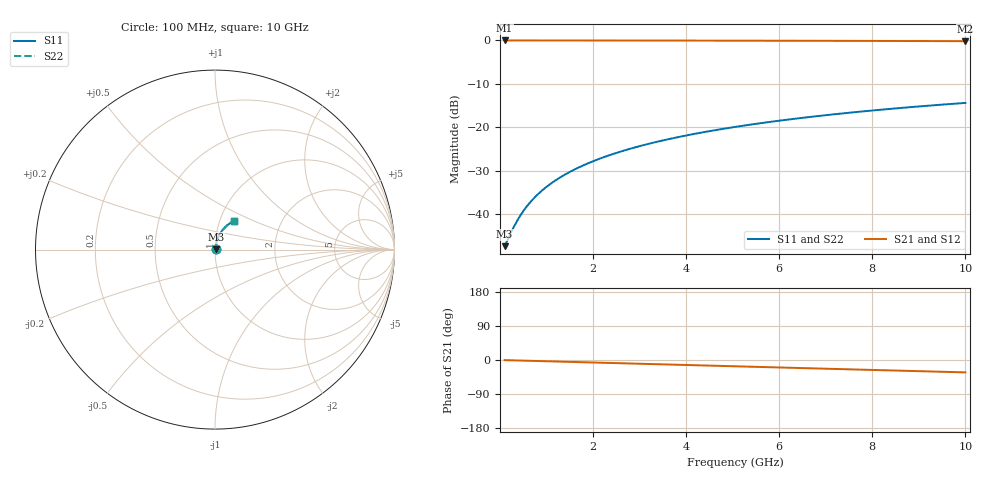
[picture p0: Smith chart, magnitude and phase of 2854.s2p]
# Hz S RI R 50.00
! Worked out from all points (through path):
!   100 points, 100 MHz to 10 GHz, reference 50 ohm
!   highest |S21| = -0.03 dB at 100 MHz (marker M1); lowest = -0.2 dB at 10 GHz (marker M2)
!   group delay of S21, straight-line fit = 9.09 ps
!   lowest |S11| = -47.3 dB at 100 MHz (marker M3), VSWR 1.01, Z = 50.4 + j0.202 ohm
!   |S11| at or under -10 dB: start of sweep to end of sweep
!   |S22| runs from -47.3 to -14.4 dB; largest |S21 - S12| = 0
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1e8  0.00379 0.00201  0.9962 -0.00572  0.9962 -0.00572  0.00379 0.00201
3e8  0.00393 0.00602  0.996 -0.0172  0.996 -0.0172  0.00393 0.00602
4e8  0.00402 0.00803  0.9959 -0.0229  0.9959 -0.0229  0.00402 0.00803
5e8  0.00414 0.01  0.9957 -0.0286  0.9957 -0.0286  0.00414 0.01
6e8  0.00427 0.012  0.9955 -0.0343  0.9955 -0.0343  0.00427 0.012
7e8  0.00443 0.014  0.9952 -0.04  0.9952 -0.04  0.00443 0.014
9e8  0.00482 0.018  0.9946 -0.0515  0.9946 -0.0515  0.00482 0.018
1e9  0.00504 0.02  0.9942 -0.0572  0.9942 -0.0572  0.00504 0.02
1.2e9  0.00556 0.024  0.9934 -0.0686  0.9934 -0.0686  0.00556 0.024
1.5e9  0.00651 0.0299  0.9919 -0.0857  0.9919 -0.0857  0.00651 0.0299
1.8e9  0.00766 0.0359  0.99 -0.1027  0.99 -0.1027  0.00766 0.0359
2.1e9  0.00901 0.0417  0.9879 -0.1197  0.9879 -0.1197  0.00901 0.0417
2.5e9  0.0111 0.0494  0.9845 -0.1423  0.9845 -0.1423  0.0111 0.0494
2.9e9  0.0136 0.0571  0.9805 -0.1648  0.9805 -0.1648  0.0136 0.0571
3.4e9  0.0171 0.0664  0.9747 -0.1927  0.9747 -0.1927  0.0171 0.0664
4.2e9  0.0239 0.0809  0.9636 -0.2369  0.9636 -0.2369  0.0239 0.0809
5.1e9  0.0331 0.0963  0.9486 -0.2857  0.9486 -0.2857  0.0331 0.0963
5.9e9  0.0425 0.1091  0.9329 -0.3281  0.9329 -0.3281  0.0425 0.1091
6.7e9  0.0531 0.121  0.9153 -0.3696  0.9153 -0.3696  0.0531 0.121
7.5e9  0.0646 0.1319  0.8956 -0.4099  0.8956 -0.4099  0.0646 0.1319
8.4e9  0.0787 0.1428  0.8713 -0.4539  0.8713 -0.4539  0.0787 0.1428
1e10  0.1061 0.1583  0.8227 -0.5278  0.8227 -0.5278  0.1061 0.1583
